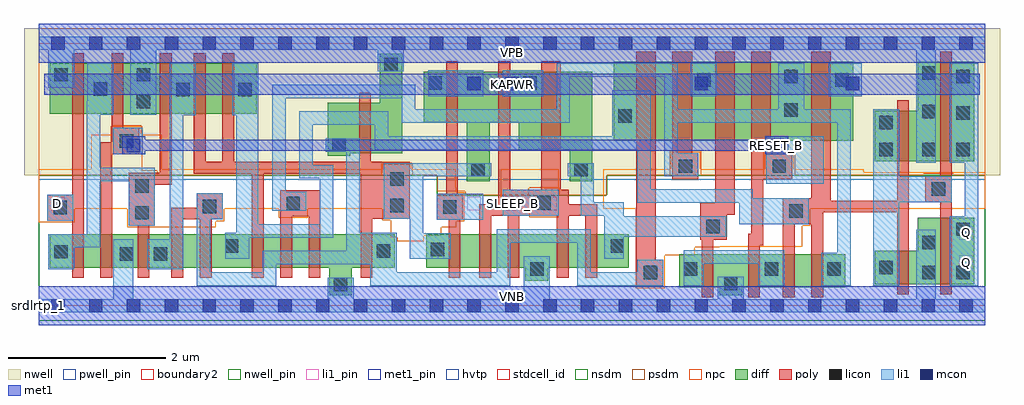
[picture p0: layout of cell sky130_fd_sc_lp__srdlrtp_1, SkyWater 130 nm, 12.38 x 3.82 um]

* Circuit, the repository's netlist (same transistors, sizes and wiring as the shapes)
* Copyright 2020 The SkyWater PDK Authors
*
* Licensed under the Apache License, Version 2.0 (the "License");
* you may not use this file except in compliance with the License.
* You may obtain a copy of the License at
*
*     https://www.apache.org/licenses/LICENSE-2.0
*
* Unless required by applicable law or agreed to in writing, software
* distributed under the License is distributed on an "AS IS" BASIS,
* WITHOUT WARRANTIES OR CONDITIONS OF ANY KIND, either express or implied.
* See the License for the specific language governing permissions and
* limitations under the License.
*
* SPDX-License-Identifier: Apache-2.0

.SUBCKT sky130_fd_sc_lp__srdlrtp_1 D GATE RESET_B SLEEP_B KAPWR VGND VNB VPB VPWR Q
*.PININFO D:I GATE:I RESET_B:I SLEEP_B:I KAPWR:I VGND:I VNB:I VPB:I
*.PININFO VPWR:I Q:O
MI20 net146 db VGND VNB sky130_fd_pr__nfet_01v8 m=1 w=0.42U l=0.15U mult=1 sa=0.265
+ sb=0.265 sd=0.28 area=0.063 perim=1.14
MI673 net78 net68 net110 VNB sky130_fd_pr__nfet_01v8 m=1 w=0.42U l=0.15U mult=1
+ sa=0.265 sb=0.265 sd=0.28 area=0.063 perim=1.14
MI675 sleep SLEEP_B net106 VNB sky130_fd_pr__nfet_01v8 m=1 w=0.42U l=0.15U mult=1
+ sa=0.265 sb=0.265 sd=0.28 area=0.063 perim=1.14
MI642 clkneg GATE net59 VNB sky130_fd_pr__nfet_01v8 m=1 w=0.42U l=0.15U mult=1
+ sa=0.265 sb=0.265 sd=0.28 area=0.063 perim=1.14
MI636 clkpos clkneg VGND VNB sky130_fd_pr__nfet_01v8 m=1 w=0.42U l=0.15U mult=1
+ sa=0.265 sb=0.265 sd=0.28 area=0.063 perim=1.14
MI674 net68 s0 net94 VNB sky130_fd_pr__nfet_01v8 m=1 w=0.42U l=0.15U mult=1 sa=0.265
+ sb=0.265 sd=0.28 area=0.063 perim=1.14
MI678 net83 sleep VGND VNB sky130_fd_pr__nfet_01v8 m=1 w=0.42U l=0.15U mult=1 sa=0.265
+ sb=0.265 sd=0.28 area=0.063 perim=1.14
MI637 db D net47 VNB sky130_fd_pr__nfet_01v8 m=1 w=0.42U l=0.15U mult=1 sa=0.265
+ sb=0.265 sd=0.28 area=0.063 perim=1.14
MI656 net94 s0 net83 VNB sky130_fd_pr__nfet_01v8 m=1 w=0.42U l=0.15U mult=1 sa=0.265
+ sb=0.265 sd=0.28 area=0.063 perim=1.14
MI657 net83 RESET_B VGND VNB sky130_fd_pr__nfet_01v8 m=1 w=0.42U l=0.15U mult=1
+ sa=0.265 sb=0.265 sd=0.28 area=0.063 perim=1.14
MI655 s0 clkneg net78 VNB sky130_fd_pr__nfet_01v8 m=1 w=0.42U l=0.15U mult=1 sa=0.265
+ sb=0.265 sd=0.28 area=0.063 perim=1.14
MI652 net155 s0 VGND VNB sky130_fd_pr__nfet_01v8 m=1 w=0.42U l=0.15U mult=1 sa=0.265
+ sb=0.265 sd=0.28 area=0.063 perim=1.14
MI653 Q net155 VGND VNB sky130_fd_pr__nfet_01v8 m=1 w=0.84U l=0.15U mult=1 sa=0.265
+ sb=0.265 sd=0.28 area=0.063 perim=1.14
MI654 net110 net68 VGND VNB sky130_fd_pr__nfet_01v8 m=1 w=0.42U l=0.15U mult=1
+ sa=0.265 sb=0.265 sd=0.28 area=0.063 perim=1.14
MI671 net58 SLEEP_B VGND VNB sky130_fd_pr__nfet_01v8 m=1 w=0.42U l=0.15U mult=1
+ sa=0.265 sb=0.265 sd=0.28 area=0.063 perim=1.14
MI670 net59 SLEEP_B net58 VNB sky130_fd_pr__nfet_01v8 m=1 w=0.42U l=0.15U mult=1
+ sa=0.265 sb=0.265 sd=0.28 area=0.063 perim=1.14
MI676 net106 SLEEP_B VGND VNB sky130_fd_pr__nfet_01v8 m=1 w=0.42U l=0.15U mult=1
+ sa=0.265 sb=0.265 sd=0.28 area=0.063 perim=1.14
MI687 net073 clkpos s0 VNB sky130_fd_pr__nfet_01v8 m=1 w=0.42U l=0.15U mult=1 sa=0.265
+ sb=0.265 sd=0.28 area=0.063 perim=1.14
MI686 net146 clkpos net073 VNB sky130_fd_pr__nfet_01v8 m=1 w=0.42U l=0.15U mult=1
+ sa=0.265 sb=0.265 sd=0.28 area=0.063 perim=1.14
MI683 net47 RESET_B VGND VNB sky130_fd_pr__nfet_01v8 m=1 w=0.42U l=0.15U mult=1
+ sa=0.265 sb=0.265 sd=0.28 area=0.063 perim=1.14
MI643 clkneg GATE KAPWR VPB sky130_fd_pr__pfet_01v8_hvt m=1 w=0.64U l=0.15U mult=1
+ sa=0.265 sb=0.265 sd=0.28 area=0.063 perim=1.14
MI679 net68 RESET_B net174 VPB sky130_fd_pr__pfet_01v8_hvt m=1 w=1.0U l=0.25U mult=1
+ sa=0.265 sb=0.265 sd=0.28 area=0.063 perim=1.14
MI635 clkpos clkneg VPWR VPB sky130_fd_pr__pfet_01v8_hvt m=1 w=0.64U l=0.15U mult=1
+ sa=0.265 sb=0.265 sd=0.28 area=0.063 perim=1.14
MI662 net167 net68 KAPWR VPB sky130_fd_pr__pfet_01v8_hvt m=1 w=1.0U l=0.25U mult=1
+ sa=0.265 sb=0.265 sd=0.28 area=0.063 perim=1.14
MI664 s0 clkpos net167 VPB sky130_fd_pr__pfet_01v8_hvt m=1 w=1.0U l=0.25U mult=1
+ sa=0.265 sb=0.265 sd=0.28 area=0.063 perim=1.14
MI658 net68 s0 KAPWR VPB sky130_fd_pr__pfet_01v8_hvt m=1 w=1.0U l=0.25U mult=1
+ sa=0.265 sb=0.265 sd=0.28 area=0.063 perim=1.14
MI663 net155 s0 VPWR VPB sky130_fd_pr__pfet_01v8_hvt m=1 w=0.64U l=0.15U mult=1
+ sa=0.265 sb=0.265 sd=0.28 area=0.063 perim=1.14
MI660 Q net155 VPWR VPB sky130_fd_pr__pfet_01v8_hvt m=1 w=1.26U l=0.15U mult=1
+ sa=0.265 sb=0.265 sd=0.28 area=0.063 perim=1.14
MI18 net146 db VPWR VPB sky130_fd_pr__pfet_01v8_hvt m=1 w=0.64U l=0.15U mult=1
+ sa=0.265 sb=0.265 sd=0.28 area=0.063 perim=1.14
MI638 db D VPWR VPB sky130_fd_pr__pfet_01v8_hvt m=1 w=0.64U l=0.15U mult=1 sa=0.265
+ sb=0.265 sd=0.28 area=0.063 perim=1.14
MI672 clkneg SLEEP_B KAPWR VPB sky130_fd_pr__pfet_01v8_hvt m=1 w=0.64U l=0.15U mult=1
+ sa=0.265 sb=0.265 sd=0.28 area=0.063 perim=1.14
MI680 net174 sleep KAPWR VPB sky130_fd_pr__pfet_01v8_hvt m=1 w=1.0U l=0.25U mult=1
+ sa=0.265 sb=0.265 sd=0.28 area=0.063 perim=1.14
MI677 sleep SLEEP_B KAPWR VPB sky130_fd_pr__pfet_01v8_hvt m=1 w=1.0U l=0.25U mult=1
+ sa=0.265 sb=0.265 sd=0.28 area=0.063 perim=1.14
MI685 net0153 clkneg s0 VPB sky130_fd_pr__pfet_01v8_hvt m=1 w=0.64U l=0.15U mult=1
+ sa=0.265 sb=0.265 sd=0.28 area=0.063 perim=1.14
MI684 net146 clkneg net0153 VPB sky130_fd_pr__pfet_01v8_hvt m=1 w=0.64U l=0.15U mult=1
+ sa=0.265 sb=0.265 sd=0.28 area=0.063 perim=1.14
MI682 db RESET_B VPWR VPB sky130_fd_pr__pfet_01v8_hvt m=1 w=0.64U l=0.15U mult=1
+ sa=0.265 sb=0.265 sd=0.28 area=0.063 perim=1.14
.ENDS sky130_fd_sc_lp__srdlrtp_1

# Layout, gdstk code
import gdstk
lib = gdstk.Library(unit=1e-6, precision=1e-09)
def R(c, l, rs):  # rectangles x0, y0, x1, y1
    for r in rs: c.add(gdstk.rectangle(r[:2], r[2:], *l))
def A(c, l, x, y, w, h, nx, ny, dx, dy):  # array of equal rectangles
    R(c, l, [(x+i*dx, y+j*dy, x+i*dx+w, y+j*dy+h) for i in range(nx) for j in range(ny)])
def P(c, l, *ps):  # polygons
    for p in ps: c.add(gdstk.Polygon(p, *l))
nwell_pin = (64, 16)
nwell = (64, 20)
diff = (65, 20)
poly = (66, 20)
licon = (66, 44)
li1_pin = (67, 16)
li1 = (67, 20)
mcon = (67, 44)
met1_pin = (68, 16)
met1 = (68, 20)
hvtp = (78, 44)
stdcell_id = (81, 4)
nsdm = (93, 44)
psdm = (94, 20)
npc = (95, 20)
pwell_pin = (122, 16)
boundary2 = (236, 0)

sky130_fd_sc_lp__srdlrtp = lib.new_cell('sky130_fd_sc_lp__srdlrtp_1')
R(sky130_fd_sc_lp__srdlrtp, nwell_pin, [(0,3.085,12,3.33)])
P(sky130_fd_sc_lp__srdlrtp, nwell, [(12.19,3.52),(-0.19,3.52),(-0.19,1.655),(5.055,1.655),(5.055,1.4),(7.2,1.4),(7.2,1.655),(12.19,1.655)])
R(sky130_fd_sc_lp__srdlrtp, diff, [(7.29,2.095,10.33,3.095), (0.135,2.435,2.76,3.075)])
P(sky130_fd_sc_lp__srdlrtp, diff, [(4.515,0.905),(0.135,0.905),(0.135,0.485),(3.68,0.485),(3.68,0.135),(3.97,0.135),(3.97,0.485),(4.515,0.485)],
  [(4.61,3.195),(4.32,3.195),(4.32,2.575),(3.66,2.575),(3.66,1.9),(3.95,1.9),(3.95,1.935),(4.61,1.935)],
  [(7.02,2.97),(4.88,2.97),(4.88,2.33),(5.425,2.33),(5.425,1.58),(5.715,1.58),(5.715,2.33),(6.085,2.33),(6.085,1.97),(6.73,1.97),(6.73,1.58),(7.02,1.58)],
  [(7.48,0.905),(4.91,0.905),(4.91,0.485),(6.17,0.485),(6.17,0.32),(6.46,0.32),(6.46,0.485),(7.48,0.485)],
  [(10.23,0.655),(8.12,0.655),(8.12,0.235),(8.63,0.235),(8.63,0.135),(8.92,0.135),(8.92,0.235),(10.23,0.235)],
  [(11.865,3.095),(11.145,3.095),(11.145,2.475),(10.6,2.475),(10.6,1.835),(11.865,1.835)],
  [(11.865,1.115),(11.145,1.115),(11.145,0.695),(10.6,0.695),(10.6,0.275),(11.865,0.275)])
P(sky130_fd_sc_lp__srdlrtp, poly, [(0.57,3.205),(0.42,3.205),(0.42,1.41),(0.105,1.41),(0.105,1.08),(0.42,1.08),(0.42,0.355),(0.57,0.355)],
  [(1.275,2.255),(1.07,2.255),(1.07,3.205),(0.92,3.205),(0.92,2.075),(0.78,2.075),(0.78,0.355),(0.93,0.355),(0.93,1.925),(1.275,1.925)],
  [(1.685,3.205),(1.535,3.205),(1.535,1.685),(1.14,1.685),(1.14,1.015),(1.25,1.015),(1.25,0.355),(1.4,0.355),(1.4,1.015),(1.47,1.015),(1.47,1.535),(1.685,1.535)],
  [(2.33,1.425),(2,1.425),(2,1.245),(1.68,1.245),(1.68,0.355),(1.83,0.355),(1.83,1.095),(2.04,1.095),(2.04,0.355),(2.19,0.355),(2.19,1.095),(2.33,1.095)],
  [(3.57,1.465),(3.06,1.465),(3.06,0.355),(3.21,0.355),(3.21,1.135),(3.42,1.135),(3.42,0.355),(3.57,0.355)],
  [(4.705,1.825),(4.21,1.825),(4.21,2.705),(4.06,2.705),(4.06,1.825),(2.475,1.825),(2.475,3.205),(2.325,3.205),(2.325,1.825),(2.115,1.825),(2.115,3.205),(1.965,3.205),(1.965,1.675),(2.7,1.675),(2.7,0.355),(2.85,0.355),(2.85,1.675),(4.08,1.675),(4.08,0.355),(4.23,0.355),(4.23,1.105),(4.705,1.105)],
  [(5.375,1.42),(5.315,1.42),(5.315,3.1),(5.165,3.1),(5.165,1.42),(5.045,1.42),(5.045,1.09),(5.195,1.09),(5.195,0.355),(5.345,0.355),(5.345,1.09),(5.375,1.09)],
  [(7.08,1.29),(6.72,1.29),(6.72,1.47),(6.62,1.47),(6.62,3.1),(6.37,3.1),(6.37,1.47),(5.975,1.47),(5.975,3.1),(5.825,3.1),(5.825,1.29),(5.585,1.29),(5.585,0.355),(5.735,0.355),(5.735,1.14),(5.945,1.14),(5.945,0.355),(6.095,0.355),(6.095,1.14),(6.57,1.14),(6.57,0.355),(6.72,0.355),(6.72,1.14),(6.93,1.14),(6.93,0.355),(7.08,0.355)],
  [(7.92,0.585),(7.825,0.585),(7.825,3.225),(7.575,3.225),(7.575,0.255),(7.92,0.255)],
  [(8.365,1.935),(8.285,1.935),(8.285,3.225),(8.035,3.225),(8.035,1.605),(8.365,1.605)],
  [(8.825,3.225),(8.575,3.225),(8.575,1.305),(8.385,1.305),(8.385,0.84),(8.405,0.84),(8.405,0.105),(8.555,0.105),(8.555,0.84),(8.725,0.84),(8.725,1.155),(8.825,1.155)],
  [(9.555,1.935),(9.285,1.935),(9.285,3.225),(9.035,3.225),(9.035,0.915),(8.995,0.915),(8.995,0.105),(9.145,0.105),(9.145,0.765),(9.185,0.765),(9.185,1.605),(9.555,1.605)],
  [(11.035,2.605),(10.885,2.605),(10.885,1.335),(10.045,1.335),(10.045,3.225),(9.795,3.225),(9.795,1.365),(9.435,1.365),(9.435,0.105),(9.585,0.105),(9.585,1.035),(9.795,1.035),(9.795,0.105),(9.945,0.105),(9.945,1.185),(10.885,1.185),(10.885,0.145),(11.035,0.145)],
  [(11.58,3.225),(11.43,3.225),(11.43,1.645),(11.245,1.645),(11.245,1.315),(11.43,1.315),(11.43,0.145),(11.58,0.145)])
A(sky130_fd_sc_lp__srdlrtp, licon, 11.205, 1.895, 0.17, 0.17, 1, 3, 0, 0.485)
A(sky130_fd_sc_lp__srdlrtp, licon, 11.635, 1.895, 0.17, 0.17, 1, 3, 0, 0.465)
R(sky130_fd_sc_lp__srdlrtp, licon, [(3.74,0.185,3.91,0.355), (8.69,0.195,8.86,0.365), (7.67,0.335,7.84,0.505), (11.205,0.335,11.375,0.505), (11.635,0.335,11.805,0.505), (6.23,0.38,6.4,0.55), (8.18,0.38,8.35,0.55), (9.205,0.38,9.375,0.55), (10,0.38,10.17,0.55), (10.66,0.4,10.83,0.57), (1.025,0.57,1.195,0.74), (1.455,0.57,1.625,0.74), (0.195,0.6,0.365,0.77), (4.285,0.61,4.455,0.78), (4.97,0.63,5.14,0.8), (2.36,0.675,2.53,0.845), (7.25,0.675,7.42,0.845), (11.205,0.715,11.375,0.885), (11.635,0.885,11.805,1.055), (8.465,0.92,8.635,1.09), (1.22,1.095,1.39,1.265), (9.515,1.115,9.685,1.285), (0.185,1.16,0.355,1.33), (5.125,1.17,5.295,1.34), (2.08,1.175,2.25,1.345), (4.455,1.185,4.625,1.355), (3.14,1.215,3.31,1.385), (6.32,1.22,6.49,1.39), (11.325,1.395,11.495,1.565), (1.22,1.435,1.39,1.605), (4.455,1.525,4.625,1.695), (5.485,1.64,5.655,1.81), (6.79,1.64,6.96,1.81), (8.115,1.685,8.285,1.855), (9.305,1.685,9.475,1.855), (10.66,1.895,10.83,2.065), (3.72,1.955,3.89,2.125), (1.025,2.005,1.195,2.175), (10.66,2.24,10.83,2.41), (7.35,2.32,7.52,2.49), (9.455,2.4,9.625,2.57), (1.24,2.505,1.41,2.675), (1.74,2.66,1.91,2.83), (2.53,2.66,2.7,2.83), (0.695,2.665,0.865,2.835), (4.94,2.74,5.11,2.91), (6.145,2.74,6.315,2.91), (8.35,2.78,8.52,2.95), (10.1,2.78,10.27,2.95), (9.455,2.825,9.625,2.995), (0.195,2.845,0.365,3.015), (1.24,2.845,1.41,3.015), (4.38,2.975,4.55,3.145)])
A(sky130_fd_sc_lp__srdlrtp, li1_pin, 5.435, 1.21, 0.17, 0.17, 3, 1, 0.48, 0)
R(sky130_fd_sc_lp__srdlrtp, li1_pin, [(11.675,0.47,11.845,0.64), (11.675,0.84,11.845,1.01), (0.155,1.21,0.325,1.38)])
R(sky130_fd_sc_lp__srdlrtp, li1, [(0.105,1.08,0.435,1.41), (5.045,1.09,5.635,1.42), (5.885,1.14,6.595,1.47), (9.225,1.55,9.955,2.15), (0.945,1.92,1.315,2.255), (4.94,2.66,5.635,2.99), (5.885,2.66,6.395,2.99), (8.27,2.66,8.6,3.075), (10.02,2.66,10.435,3.075)])
P(sky130_fd_sc_lp__srdlrtp, li1, [(0.115,2.765),(0.115,3.245),(0,3.245),(0,3.415),(12,3.415),(12,3.245),(11.375,3.245),(11.375,1.815),(11.125,1.815),(11.125,3.245),(4.63,3.245),(4.63,2.975),(4.3,2.975),(4.3,3.245),(1.49,3.245),(1.49,2.425),(1.16,2.425),(1.16,3.245),(0.445,3.245),(0.445,2.765)],
  [(6.15,0.085),(6.15,0.63),(6.48,0.63),(6.48,0.085),(8.61,0.085),(8.61,0.365),(8.94,0.365),(8.94,0.085),(11.125,0.085),(11.125,0.965),(11.375,0.965),(11.375,0.085),(12,0.085),(12,-0.085),(0,-0.085),(0,0.085),(0.945,0.085),(0.945,0.845),(1.195,0.845),(1.195,0.085),(3.66,0.085),(3.66,0.355),(3.99,0.355),(3.99,0.085)],
  [(11.555,0.255),(11.555,1.135),(11.745,1.135),(11.745,1.815),(11.555,1.815),(11.555,3.075),(11.915,3.075),(11.915,0.255)],
  [(0.775,1.75),(1.47,1.75),(1.47,1.015),(1.14,1.015),(1.14,1.58),(0.775,1.58),(0.775,0.74),(0.445,0.74),(0.445,0.465),(0.115,0.465),(0.115,0.91),(0.605,0.91),(0.605,2.595),(0.615,2.595),(0.615,3.075),(0.945,3.075),(0.945,2.425),(0.775,2.425)],
  [(10.58,0.255),(10.58,2.49),(10.91,2.49),(10.91,1.645),(11.575,1.645),(11.575,1.315),(10.91,1.315),(10.91,0.255)],
  [(2,0.255),(2,1.425),(2.33,1.425),(2.33,1.095),(2.17,1.095),(2.17,0.425),(2.84,0.425),(2.84,0.695),(3.9,0.695),(3.9,1.955),(3.64,1.955),(3.64,2.125),(4.07,2.125),(4.07,0.925),(4.535,0.925),(4.535,0.425),(5.805,0.425),(5.805,0.97),(7,0.97),(7,0.425),(7.59,0.425),(7.59,0.585),(7.92,0.585),(7.92,0.255),(6.83,0.255),(6.83,0.8),(5.975,0.8),(5.975,0.255),(4.205,0.255),(4.205,0.525),(3.01,0.525),(3.01,0.255)],
  [(7.42,1.135),(8.715,1.135),(8.715,0.875),(7.42,0.875),(7.42,0.595),(7.17,0.595),(7.17,1.14),(6.87,1.14),(6.87,1.64),(6.71,1.64),(6.71,1.81),(7.04,1.81),(7.04,1.31),(7.42,1.31)],
  [(9.055,1.365),(9.765,1.365),(9.765,1.035),(8.885,1.035),(8.885,1.305),(7.59,1.305),(7.59,1.98),(4.26,1.98),(4.26,2.295),(3.47,2.295),(3.47,1.785),(3.73,1.785),(3.73,0.865),(2.67,0.865),(2.67,0.595),(2.36,0.595),(2.36,0.925),(2.5,0.925),(2.5,2.415),(2.45,2.415),(2.45,3.075),(2.78,3.075),(2.78,1.035),(3.56,1.035),(3.56,1.615),(3.3,1.615),(3.3,2.465),(4.43,2.465),(4.43,2.15),(7.27,2.15),(7.27,2.735),(7.76,2.735),(7.76,1.475),(9.055,1.475)],
  [(5.735,1.81),(5.735,1.64),(4.875,1.64),(4.875,0.92),(5.22,0.92),(5.22,0.595),(4.705,0.595),(4.705,1.105),(4.375,1.105),(4.375,1.81)],
  [(1.66,3.075),(1.99,3.075),(1.99,2.415),(1.83,2.415),(1.83,0.465),(1.375,0.465),(1.375,0.845),(1.66,0.845)],
  [(4.77,2.805),(4.77,2.49),(6.565,2.49),(6.565,3.075),(8.1,3.075),(8.1,2.49),(9.375,2.49),(9.375,3.075),(9.705,3.075),(9.705,2.49),(10.295,2.49),(10.295,0.255),(9.92,0.255),(9.92,0.675),(10.125,0.675),(10.125,2.32),(8.1,2.32),(8.1,1.935),(8.365,1.935),(8.365,1.645),(7.93,1.645),(7.93,2.905),(6.735,2.905),(6.735,2.32),(4.6,2.32),(4.6,2.635),(3.13,2.635),(3.13,1.445),(3.39,1.445),(3.39,1.205),(2.96,1.205),(2.96,2.805)],
  [(9.125,0.255),(9.125,0.535),(8.43,0.535),(8.43,0.255),(8.18,0.255),(8.18,0.705),(9.455,0.705),(9.455,0.255)])
A(sky130_fd_sc_lp__srdlrtp, mcon, 0.155, -0.085, 0.17, 0.17, 25, 2, 0.48, 3.33)
R(sky130_fd_sc_lp__srdlrtp, mcon, [(1.115,1.95,1.285,2.12), (9.275,1.95,9.445,2.12), (5.435,2.735,5.605,2.905), (5.915,2.735,6.085,2.905), (8.315,2.735,8.485,2.905), (10.235,2.735,10.405,2.905)])
R(sky130_fd_sc_lp__srdlrtp, met1_pin, [(0,0,12,0.245), (9.275,1.95,9.445,2.12), (0.07,2.675,11.93,2.945), (0,3.085,12,3.33)])
R(sky130_fd_sc_lp__srdlrtp, met1, [(0,-0.245,12,0.245), (0.07,2.675,11.93,2.945), (0,3.085,12,3.575)])
P(sky130_fd_sc_lp__srdlrtp, met1, [(1.345,2.105),(9.215,2.105),(9.215,2.15),(9.505,2.15),(9.505,1.92),(9.215,1.92),(9.215,1.965),(1.345,1.965),(1.345,1.92),(1.055,1.92),(1.055,2.15),(1.345,2.15)])
R(sky130_fd_sc_lp__srdlrtp, hvtp, [(0,1.6,12,3.33)])
R(sky130_fd_sc_lp__srdlrtp, stdcell_id, [(0,0,12,3.33)])
P(sky130_fd_sc_lp__srdlrtp, nsdm, [(12,1.655),(7.2,1.655),(7.2,1.4),(5.055,1.4),(5.055,1.655),(0,1.655),(0,-0.19),(12,-0.19)])
P(sky130_fd_sc_lp__srdlrtp, psdm, [(12,3.52),(0,3.52),(0,1.655),(0.915,1.655),(0.915,2.285),(1.305,2.285),(1.305,1.715),(1.5,1.715),(1.5,1.655),(4.345,1.655),(4.345,1.805),(4.735,1.805),(4.735,1.655),(5.055,1.655),(5.055,1.45),(5.405,1.45),(5.405,1.4),(6.21,1.4),(6.21,1.5),(6.6,1.5),(6.6,1.4),(7.2,1.4),(7.2,1.655),(8.005,1.655),(8.005,1.965),(8.395,1.965),(8.395,1.655),(9.195,1.655),(9.195,1.965),(9.585,1.965),(9.585,1.655),(11.215,1.655),(11.215,1.675),(11.605,1.675),(11.605,1.655),(12,1.655)])
P(sky130_fd_sc_lp__srdlrtp, npc, [(6.59,1.73),(5.855,1.73),(5.855,1.23),(6.22,1.23),(6.22,1.12),(6.59,1.12)],
  [(5.395,1.44),(5.29,1.44),(5.29,1.495),(5.285,1.495),(5.285,1.73),(4.725,1.73),(4.725,1.795),(4.355,1.795),(4.355,1.73),(1.56,1.73),(1.56,2.17),(1.295,2.17),(1.295,2.275),(0.925,2.275),(0.925,2.17),(0.66,2.17),(0.66,1.73),(0,1.73),(0,1.06),(0.455,1.06),(0.455,1.23),(1.12,1.23),(1.12,0.995),(2.245,0.995),(2.245,1.075),(2.35,1.075),(2.35,1.23),(3.04,1.23),(3.04,1.115),(3.41,1.115),(3.41,1.23),(4.355,1.23),(4.355,1.085),(4.46,1.085),(4.46,0.87),(4.545,0.87),(4.545,0.82),(4.88,0.82),(4.88,0.89),(5.105,0.89),(5.105,0.995),(5.29,0.995),(5.29,1.07),(5.395,1.07)],
  [(12,1.695),(10.46,1.695),(10.46,1.73),(9.575,1.73),(9.575,1.955),(9.205,1.955),(9.205,1.73),(8.385,1.73),(8.385,1.955),(8.015,1.955),(8.015,1.73),(7.16,1.73),(7.16,1.23),(7.57,1.23),(7.57,0.225),(7.94,0.225),(7.94,0.64),(8.315,0.64),(8.315,0.745),(8.63,0.745),(8.63,0.75),(9.68,0.75),(9.68,1.015),(9.785,1.015),(9.785,1.23),(12,1.23)])
R(sky130_fd_sc_lp__srdlrtp, pwell_pin, [(0,0,12,0.245)])
R(sky130_fd_sc_lp__srdlrtp, boundary2, [(0,0,12,3.33)])
sky130_fd_sc_lp__srdlrtp.add(gdstk.Label('VNB', (6,0.123), layer=64, texttype=59))
sky130_fd_sc_lp__srdlrtp.add(gdstk.Label('VPB', (6,3.208), layer=64, texttype=5))
sky130_fd_sc_lp__srdlrtp.add(gdstk.Label('srdlrtp_1', (0,0), layer=83, texttype=44))
sky130_fd_sc_lp__srdlrtp.add(gdstk.Label('KAPWR', (6,2.81), layer=68, texttype=5))
sky130_fd_sc_lp__srdlrtp.add(gdstk.Label('RESET_B', (9.36,2.035), layer=68, texttype=5))
sky130_fd_sc_lp__srdlrtp.add(gdstk.Label('VPWR', (6,3.208), layer=68, texttype=5))
sky130_fd_sc_lp__srdlrtp.add(gdstk.Label('VGND', (6,0.123), layer=68, texttype=5))
sky130_fd_sc_lp__srdlrtp.add(gdstk.Label('Q', (11.76,0.555), layer=67, texttype=5))
sky130_fd_sc_lp__srdlrtp.add(gdstk.Label('Q', (11.76,0.925), layer=67, texttype=5))
sky130_fd_sc_lp__srdlrtp.add(gdstk.Label('D', (0.24,1.295), layer=67, texttype=5))
sky130_fd_sc_lp__srdlrtp.add(gdstk.Label('SLEEP_B', (6,1.295), layer=67, texttype=5))
sky130_fd_sc_lp__srdlrtp.add(gdstk.Label('SLEEP_B', (6.48,1.295), layer=67, texttype=5))
sky130_fd_sc_lp__srdlrtp.add(gdstk.Label('GATE', (5.52,1.295), layer=67, texttype=5))

lib.write_gds('sky130_fd_sc_lp__srdlrtp_1.gds')
